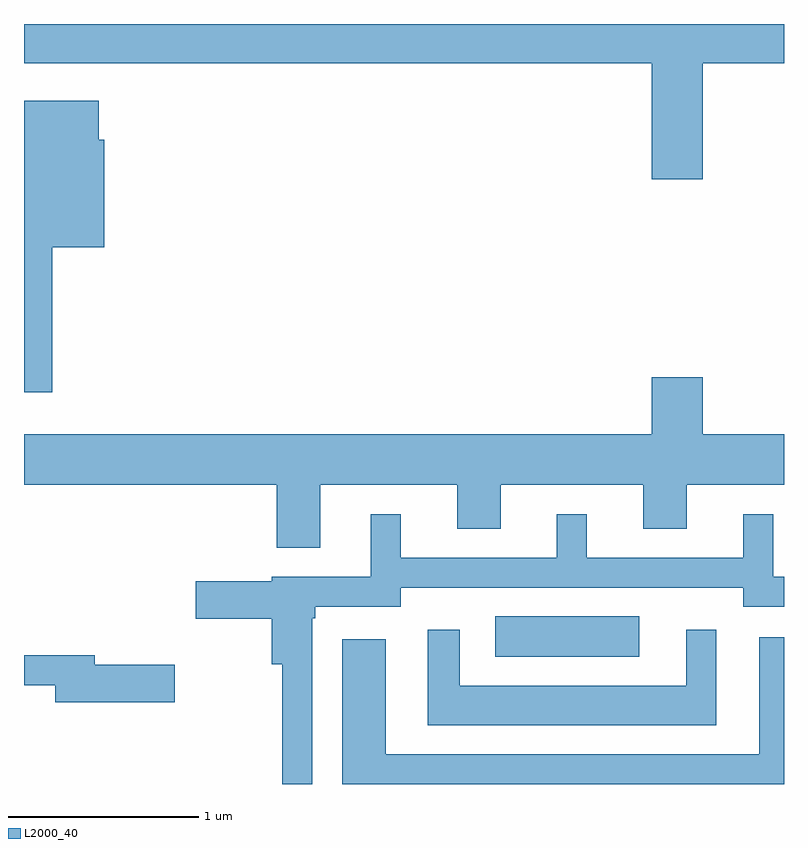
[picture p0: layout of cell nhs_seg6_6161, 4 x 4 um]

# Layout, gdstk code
import gdstk
lib = gdstk.Library(unit=1e-6, precision=1e-09)
def R(c, l, rs):  # rectangles x0, y0, x1, y1
    for r in rs: c.add(gdstk.rectangle(r[:2], r[2:], *l))
def P(c, l, *ps):  # polygons
    for p in ps: c.add(gdstk.Polygon(p, *l))
L2000_40 = (2000, 40)

nhs_seg6_6161 = lib.new_cell('nhs_seg6_6161')
R(nhs_seg6_6161, L2000_40, [(374.091,1626.831,374.849,1627.044)])
P(nhs_seg6_6161, L2000_40, [(375.184,1629.956),(375.611,1629.956),(375.611,1630.162),(371.611,1630.162),(371.611,1629.956),(374.916,1629.956),(374.916,1629.346),(375.184,1629.346)],
  [(371.759,1628.986),(372.034,1628.986),(372.034,1629.554),(372.004,1629.554),(372.004,1629.759),(371.611,1629.759),(371.611,1628.223),(371.759,1628.223)],
  [(373.169,1627.736),(373.891,1627.736),(373.891,1627.506),(374.119,1627.506),(374.119,1627.736),(374.871,1627.736),(374.871,1627.506),(375.099,1627.506),(375.099,1627.736),(375.611,1627.736),(375.611,1628.004),(375.184,1628.004),(375.184,1628.304),(374.916,1628.304),(374.916,1628.004),(371.611,1628.004),(371.611,1627.736),(372.941,1627.736),(372.941,1627.406),(373.169,1627.406)],
  [(373.129,1627.035),(373.144,1627.035),(373.144,1627.096),(373.594,1627.096),(373.594,1627.196),(375.396,1627.196),(375.396,1627.096),(375.611,1627.096),(375.611,1627.254),(375.554,1627.254),(375.554,1627.583),(375.396,1627.583),(375.396,1627.354),(374.574,1627.354),(374.574,1627.583),(374.416,1627.583),(374.416,1627.354),(373.594,1627.354),(373.594,1627.583),(373.436,1627.583),(373.436,1627.254),(372.916,1627.254),(372.916,1627.229),(372.516,1627.229),(372.516,1627.031),(372.916,1627.031),(372.916,1626.791),(372.971,1626.791),(372.971,1626.162),(373.129,1626.162)],
  [(375.254,1626.973),(375.096,1626.973),(375.096,1626.679),(373.904,1626.679),(373.904,1626.973),(373.736,1626.973),(373.736,1626.471),(375.254,1626.471)],
  [(375.611,1626.934),(375.481,1626.934),(375.481,1626.319),(373.514,1626.319),(373.514,1626.924),(373.286,1626.924),(373.286,1626.162),(375.611,1626.162)],
  [(372.404,1626.789),(371.984,1626.789),(371.984,1626.839),(371.611,1626.839),(371.611,1626.681),(371.776,1626.681),(371.776,1626.591),(372.404,1626.591)])

lib.write_gds('nhs_seg6_6161.gds')
